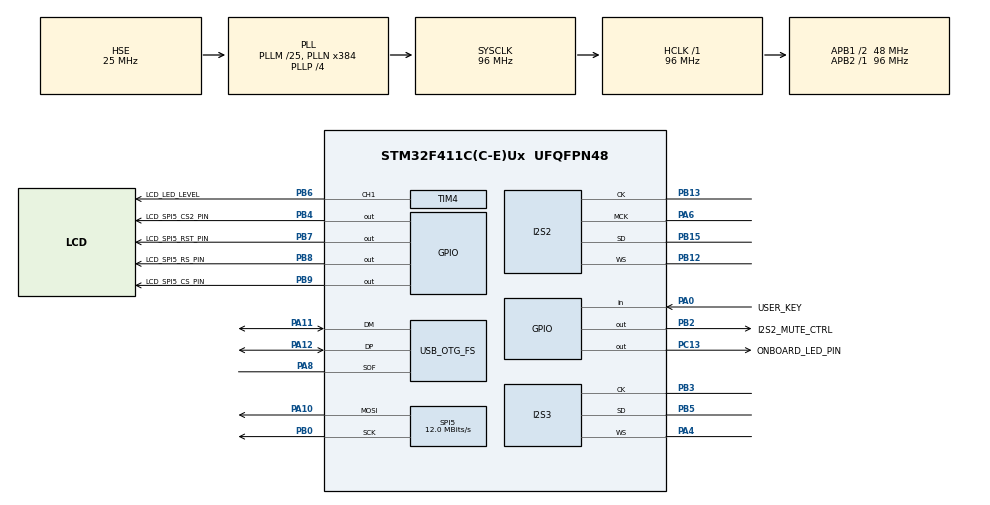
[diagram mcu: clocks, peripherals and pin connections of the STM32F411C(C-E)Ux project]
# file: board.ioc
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Dma.Request0=SPI2_TX
Dma.Request1=SPI3_RX
Dma.Request2=SPI5_TX
Dma.SPI2_TX.0.Direction=DMA_MEMORY_TO_PERIPH
Dma.SPI2_TX.0.FIFOMode=DMA_FIFOMODE_ENABLE
Dma.SPI2_TX.0.FIFOThreshold=DMA_FIFO_THRESHOLD_FULL
Dma.SPI2_TX.0.Instance=DMA1_Stream4
Dma.SPI2_TX.0.MemBurst=DMA_MBURST_SINGLE
Dma.SPI2_TX.0.MemDataAlignment=DMA_MDATAALIGN_HALFWORD
Dma.SPI2_TX.0.MemInc=DMA_MINC_ENABLE
Dma.SPI2_TX.0.Mode=DMA_CIRCULAR
Dma.SPI2_TX.0.PeriphBurst=DMA_PBURST_SINGLE
Dma.SPI2_TX.0.PeriphDataAlignment=DMA_PDATAALIGN_HALFWORD
Dma.SPI2_TX.0.PeriphInc=DMA_PINC_DISABLE
Dma.SPI2_TX.0.Priority=DMA_PRIORITY_LOW
Dma.SPI3_RX.1.Direction=DMA_PERIPH_TO_MEMORY
Dma.SPI3_RX.1.FIFOMode=DMA_FIFOMODE_ENABLE
Dma.SPI3_RX.1.FIFOThreshold=DMA_FIFO_THRESHOLD_FULL
Dma.SPI3_RX.1.Instance=DMA1_Stream2
Dma.SPI3_RX.1.MemBurst=DMA_MBURST_SINGLE
Dma.SPI3_RX.1.MemDataAlignment=DMA_MDATAALIGN_HALFWORD
Dma.SPI3_RX.1.MemInc=DMA_MINC_ENABLE
Dma.SPI3_RX.1.Mode=DMA_CIRCULAR
Dma.SPI3_RX.1.PeriphBurst=DMA_PBURST_SINGLE
Dma.SPI3_RX.1.PeriphDataAlignment=DMA_PDATAALIGN_HALFWORD
Dma.SPI3_RX.1.PeriphInc=DMA_PINC_DISABLE
Dma.SPI3_RX.1.Priority=DMA_PRIORITY_LOW
Dma.SPI5_TX.2.Direction=DMA_MEMORY_TO_PERIPH
Dma.SPI5_TX.2.FIFOMode=DMA_FIFOMODE_DISABLE
Dma.SPI5_TX.2.Instance=DMA2_Stream4
Dma.SPI5_TX.2.MemDataAlignment=DMA_MDATAALIGN_BYTE
Dma.SPI5_TX.2.MemInc=DMA_MINC_ENABLE
Dma.SPI5_TX.2.Mode=DMA_NORMAL
Dma.SPI5_TX.2.PeriphDataAlignment=DMA_PDATAALIGN_BYTE
Dma.SPI5_TX.2.PeriphInc=DMA_PINC_DISABLE
Dma.SPI5_TX.2.Priority=DMA_PRIORITY_LOW
FREERTOS.Tasks01=defaultTask,24,256,StartDefaultTask,Default,NULL,Dynamic,NULL,NULL
FREERTOS.configCHECK_FOR_STACK_OVERFLOW=2
FREERTOS.configENABLE_BACKWARD_COMPATIBILITY=0
FREERTOS.configENABLE_FPU=1
FREERTOS.configGENERATE_RUN_TIME_STATS=1
FREERTOS.configMAX_CO_ROUTINE_PRIORITIES=6
FREERTOS.configMAX_TASK_NAME_LEN=32
FREERTOS.configMINIMAL_STACK_SIZE=256
FREERTOS.configQUEUE_REGISTRY_SIZE=16
FREERTOS.configUSE_CO_ROUTINES=1
FREERTOS.configUSE_DAEMON_TASK_STARTUP_HOOK=1
FREERTOS.configUSE_IDLE_HOOK=1
FREERTOS.configUSE_MALLOC_FAILED_HOOK=1
FREERTOS.configUSE_STATS_FORMATTING_FUNCTIONS=1
FREERTOS.configUSE_TICK_HOOK=1
I2S2.AudioFreq=I2S_AUDIOFREQ_192K
I2S2.ClockSource=I2S_CLOCK_PLL
I2S2.DataFormat=I2S_DATAFORMAT_24B
I2S2.ErrorAudioFreq=-2.36 %
I2S2.FullDuplexMode=I2S_FULLDUPLEXMODE_DISABLE
I2S2.Instance=SPI$Index
I2S2.RealAudioFreq=187.465 KHz
I2S2.VirtualMode=I2S_MODE_MASTER
I2S3.AudioFreq=I2S_AUDIOFREQ_192K
I2S3.ClockSource=I2S_CLOCK_PLL
I2S3.DataFormat=I2S_DATAFORMAT_24B
I2S3.ErrorAudioFreq=-2.36 %
I2S3.FullDuplexMode=I2S_FULLDUPLEXMODE_DISABLE
I2S3.Instance=SPI$Index
I2S3.Mode=I2S_MODE_SLAVE_RX
I2S3.RealAudioFreq=187.465 KHz
I2S3.VirtualMode=I2S_MODE_SLAVE
Mcu.Family=STM32F4
Mcu.Name=STM32F411C(C-E)Ux
Mcu.Package=UFQFPN48
NVIC.DMA1_Stream2_IRQn=true\:5\:0\:false\:false\:true\:true\:false\:true\:true
NVIC.DMA1_Stream4_IRQn=true\:5\:0\:false\:true\:true\:4\:true\:false\:true\:true
NVIC.DMA2_Stream4_IRQn=true\:5\:0\:false\:false\:true\:true\:false\:true\:true
NVIC.FLASH_IRQn=true\:5\:0\:false\:true\:true\:2\:true\:true\:true\:true
NVIC.FPU_IRQn=true\:5\:0\:false\:true\:true\:9\:true\:true\:false\:true
NVIC.OTG_FS_IRQn=true\:5\:0\:false\:false\:true\:true\:true\:true\:true
NVIC.PVD_IRQn=true\:5\:0\:false\:true\:true\:1\:true\:true\:true\:true
NVIC.PriorityGroup=NVIC_PRIORITYGROUP_4
NVIC.RCC_IRQn=true\:5\:0\:false\:true\:true\:3\:true\:true\:false\:true
NVIC.SPI2_IRQn=true\:5\:0\:false\:true\:true\:6\:true\:true\:true\:true
NVIC.SPI3_IRQn=true\:5\:0\:false\:false\:true\:true\:true\:true\:true
NVIC.SPI5_IRQn=true\:5\:0\:false\:false\:true\:true\:true\:true\:true
NVIC.TIM1_UP_TIM10_IRQn=true\:15\:0\:false\:false\:true\:false\:false\:true\:true
NVIC.TimeBase=TIM1_UP_TIM10_IRQn
NVIC.TimeBaseIP=TIM1
PA0-WKUP.GPIO_Label=USER_KEY
PA0-WKUP.GPIO_Mode=GPIO_MODE_INPUT
PA0-WKUP.GPIO_PuPd=GPIO_PULLUP
PA0-WKUP.Signal=GPIO_Input
PA10.Mode=TX_Only_Simplex_Unidirect_Master
PA10.Signal=SPI5_MOSI
PA11.Mode=Device_Only
PA11.Signal=USB_OTG_FS_DM
PA12.Mode=Device_Only
PA12.Signal=USB_OTG_FS_DP
PA13.Mode=Serial_Wire
PA13.Signal=SYS_JTMS-SWDIO
PA14.Mode=Serial_Wire
PA14.Signal=SYS_JTCK-SWCLK
PA4.Mode=Half_Duplex_Slave
PA4.Signal=I2S3_WS
PA6.Mode=Master_Clock_Activated
PA6.Signal=I2S2_MCK
PA8.Mode=Activate_SOF_FS
PA8.Signal=USB_OTG_FS_SOF
PB0.Mode=TX_Only_Simplex_Unidirect_Master
PB0.Signal=SPI5_SCK
PB12.Mode=Half_Duplex_Master
PB12.Signal=I2S2_WS
PB13.Mode=Half_Duplex_Master
PB13.Signal=I2S2_CK
PB15.Mode=Half_Duplex_Master
PB15.Signal=I2S2_SD
PB2.GPIO_Label=I2S2_MUTE_CTRL
PB2.GPIO_ModeDefaultOutputPP=GPIO_MODE_OUTPUT_PP
PB2.PinState=GPIO_PIN_SET
PB2.Signal=GPIO_Output
PB3.Mode=Half_Duplex_Slave
PB3.Signal=I2S3_CK
PB4.GPIO_Label=LCD_SPI5_CS2_PIN
PB4.Signal=GPIO_Output
PB5.Mode=Half_Duplex_Slave
PB5.Signal=I2S3_SD
PB6.GPIO_Label=LCD_LED_LEVEL
PB6.Signal=S_TIM4_CH1
PB7.GPIO_Label=LCD_SPI5_RST_PIN
PB7.Signal=GPIO_Output
PB8.GPIO_Label=LCD_SPI5_RS_PIN
PB8.Signal=GPIO_Output
PB9.GPIO_Label=LCD_SPI5_CS_PIN
PB9.GPIO_Speed=GPIO_SPEED_FREQ_VERY_HIGH
PB9.Signal=GPIO_Output
PC13-ANTI_TAMP.GPIO_Label=ONBOARD_LED_PIN
PC13-ANTI_TAMP.GPIO_ModeDefaultOutputPP=GPIO_MODE_OUTPUT_PP
PC13-ANTI_TAMP.PinState=GPIO_PIN_RESET
PC13-ANTI_TAMP.Signal=GPIO_Output
PH0\ -\ OSC_IN.Mode=HSE-External-Oscillator
PH0\ -\ OSC_IN.Signal=RCC_OSC_IN
PH1\ -\ OSC_OUT.Mode=HSE-External-Oscillator
PH1\ -\ OSC_OUT.Signal=RCC_OSC_OUT
ProjectManager.HeapSize=0x2400
ProjectManager.StackSize=0x4800
ProjectManager.TargetToolchain=Makefile
RCC.48MHZClocksFreq_Value=48000000
RCC.AHBFreq_Value=96000000
RCC.APB1CLKDivider=RCC_HCLK_DIV2
RCC.APB1Freq_Value=48000000
RCC.APB1TimFreq_Value=96000000
RCC.APB2Freq_Value=96000000
RCC.APB2TimFreq_Value=96000000
RCC.CortexFreq_Value=96000000
RCC.EXTERNAL_CLOCK_VALUE=24576000
RCC.HCLKFreq_Value=96000000
RCC.HSE_VALUE=25000000
RCC.HSI_VALUE=16000000
RCC.LSE_VALUE=32768
RCC.PLLI2SM=14
RCC.PLLI2SN=215
RCC.PLLM=25
RCC.PLLN=384
RCC.PLLP=RCC_PLLP_DIV4
RCC.PLLQ=8
RCC.RCC_RTC_Clock_SourceVirtual=RCC_RTCCLKSOURCE_HSE_DIV25
RCC.RCC_RTC_Clock_Source_FROM_HSE=RCC_RTCCLKSOURCE_HSE_DIV25
RCC.RCC_TIM_PRescaler_Selection=RCC_TIMPRES_ACTIVATED
RCC.SYSCLKFreq_VALUE=96000000
RCC.SYSCLKSource=RCC_SYSCLKSOURCE_PLLCLK
RCC.VCOOutputFreq_Value=384000000
SH.S_TIM4_CH1.0=TIM4_CH1,PWM Generation1 CH1
SPI5.BaudRatePrescaler=SPI_BAUDRATEPRESCALER_8
SPI5.CalculateBaudRate=12.0 MBits/s
SPI5.DataSize=SPI_DATASIZE_8BIT
SPI5.Direction=SPI_DIRECTION_2LINES
SPI5.Mode=SPI_MODE_MASTER
SPI5.VirtualType=VM_MASTER
TIM4.Channel-PWM\ Generation1\ CH1=TIM_CHANNEL_1
TIM4.Period=500-1
TIM4.Prescaler=768-1
USB_OTG_FS.Sof_enable=ENABLE
USB_OTG_FS.VirtualMode=Device_Only
VP_CRC_VS_CRC.Mode=CRC_Activate
VP_FREERTOS_VS_CMSIS_V2.Mode=CMSIS_V2
VP_SYS_VS_tim1.Mode=TIM1
VP_TIM4_VS_ClockSourceINT.Mode=Internal
board=custom

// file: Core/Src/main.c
/* USER CODE BEGIN Header */
/**
  ******************************************************************************
  * @file           : main.c
  * @brief          : Main program body
  ******************************************************************************
  * @attention
  *
  * Copyright (c) 2024 STMicroelectronics.
  * All rights reserved.
  *
  * This software is licensed under terms that can be found in the LICENSE file
  * in the root directory of this software component.
  * If no LICENSE file comes with this software, it is provided AS-IS.
  *
  ******************************************************************************
  */
/* USER CODE END Header */
#include "main.h"
#include "cmsis_os.h"
#include "crc.h"
#include "dma.h"
#include "i2s.h"
#include "spi.h"
#include "tim.h"
#include "usb_otg.h"
#include "gpio.h"

void SystemClock_Config(void);
void PeriphCommonClock_Config(void);
void MX_FREERTOS_Init(void);
static void MX_NVIC_Init(void);

int main(void)
{

  /* MCU Configuration--------------------------------------------------------*/

  /* Reset of all peripherals, Initializes the Flash interface and the Systick. */

  HAL_Init();

  /* USER CODE BEGIN Init */
  extern void I2S_BUS_ClockConfig(I2S_HandleTypeDef *hi2s, uint32_t AudioFreq, void *Params);
  extern void ST7735_Init();
  extern void ST7735_FillScreen(uint16_t color);
  extern void InitTop(void);
  extern void SetPWM(uint16_t value);
  /* USER CODE END Init */

  /* Configure the system clock */
  SystemClock_Config();

/* Configure the peripherals common clocks */
  PeriphCommonClock_Config();

  /* USER CODE BEGIN SysInit */
  I2S_BUS_ClockConfig(&hi2s2, 96000, NULL);
  I2S_BUS_ClockConfig(&hi2s3, 96000, NULL);
  /* USER CODE END SysInit */

  /* Initialize all configured peripherals */
  MX_CRC_Init();
  MX_GPIO_Init();
  MX_DMA_Init();
  MX_I2S2_Init();
  MX_I2S3_Init();
  MX_SPI5_Init();
  MX_TIM4_Init();
  MX_USB_OTG_FS_PCD_Init();

  /* Initialize interrupts */
  MX_NVIC_Init();
  /* USER CODE BEGIN 2 */
  HAL_TIM_PWM_Start(&htim4, TIM_CHANNEL_1); SetPWM(3);
  ST7735_Init(); ST7735_FillScreen(0x0000);
  SetPWM(0);
  InitTop();
  SetPWM(22);
  /* USER CODE END 2 */

  /* Init scheduler */
  osKernelInitialize();

  /* Call init function for freertos objects (in freertos.c) */
  MX_FREERTOS_Init();

  /* Start scheduler */
  osKernelStart();

  /* We should never get here as control is now taken by the scheduler */
  /* Infinite loop */
  while (1)
  {

  }
}

void SystemClock_Config(void)
{
  RCC_OscInitTypeDef RCC_OscInitStruct = {0};
  RCC_ClkInitTypeDef RCC_ClkInitStruct = {0};

  /** Configure the main internal regulator output voltage
  */
  __HAL_RCC_PWR_CLK_ENABLE();
  __HAL_PWR_VOLTAGESCALING_CONFIG(PWR_REGULATOR_VOLTAGE_SCALE1);

  /** Initializes the RCC Oscillators according to the specified parameters
  * in the RCC_OscInitTypeDef structure.
  */
  RCC_OscInitStruct.OscillatorType = RCC_OSCILLATORTYPE_HSE;
  RCC_OscInitStruct.HSEState = RCC_HSE_ON;
  RCC_OscInitStruct.PLL.PLLState = RCC_PLL_ON;
  RCC_OscInitStruct.PLL.PLLSource = RCC_PLLSOURCE_HSE;
  RCC_OscInitStruct.PLL.PLLM = 25;
  RCC_OscInitStruct.PLL.PLLN = 384;
  RCC_OscInitStruct.PLL.PLLP = RCC_PLLP_DIV4;
  RCC_OscInitStruct.PLL.PLLQ = 8;
  if (HAL_RCC_OscConfig(&RCC_OscInitStruct) != HAL_OK)
  {
    Error_Handler();
  }

  /** Initializes the CPU, AHB and APB buses clocks
  */
  RCC_ClkInitStruct.ClockType = RCC_CLOCKTYPE_HCLK|RCC_CLOCKTYPE_SYSCLK
                              |RCC_CLOCKTYPE_PCLK1|RCC_CLOCKTYPE_PCLK2;
  RCC_ClkInitStruct.SYSCLKSource = RCC_SYSCLKSOURCE_PLLCLK;
  RCC_ClkInitStruct.AHBCLKDivider = RCC_SYSCLK_DIV1;
  RCC_ClkInitStruct.APB1CLKDivider = RCC_HCLK_DIV2;
  RCC_ClkInitStruct.APB2CLKDivider = RCC_HCLK_DIV1;

  if (HAL_RCC_ClockConfig(&RCC_ClkInitStruct, FLASH_LATENCY_3) != HAL_OK)
  {
    Error_Handler();
  }
}

void PeriphCommonClock_Config(void)
{
  RCC_PeriphCLKInitTypeDef PeriphClkInitStruct = {0};

  /** Initializes the peripherals clock
  */
  PeriphClkInitStruct.PeriphClockSelection = RCC_PERIPHCLK_TIM|RCC_PERIPHCLK_I2S;
  PeriphClkInitStruct.PLLI2S.PLLI2SN = 424;
  PeriphClkInitStruct.PLLI2S.PLLI2SM = 25;
  PeriphClkInitStruct.PLLI2S.PLLI2SR = 3;
  PeriphClkInitStruct.TIMPresSelection = RCC_TIMPRES_ACTIVATED;
  if (HAL_RCCEx_PeriphCLKConfig(&PeriphClkInitStruct) != HAL_OK)
  {
    Error_Handler();
  }
}

/**
  * @brief NVIC Configuration.
  * @retval None
  */
static void MX_NVIC_Init(void)
{
  /* PVD_IRQn interrupt configuration */
  HAL_NVIC_SetPriority(PVD_IRQn, 5, 0);
  HAL_NVIC_EnableIRQ(PVD_IRQn);
  /* FLASH_IRQn interrupt configuration */
  HAL_NVIC_SetPriority(FLASH_IRQn, 5, 0);
  HAL_NVIC_EnableIRQ(FLASH_IRQn);
  /* RCC_IRQn interrupt configuration */
  HAL_NVIC_SetPriority(RCC_IRQn, 5, 0);
  HAL_NVIC_EnableIRQ(RCC_IRQn);
  /* DMA1_Stream4_IRQn interrupt configuration */
  HAL_NVIC_SetPriority(DMA1_Stream4_IRQn, 5, 0);
  HAL_NVIC_EnableIRQ(DMA1_Stream4_IRQn);
  /* SPI2_IRQn interrupt configuration */
  HAL_NVIC_SetPriority(SPI2_IRQn, 5, 0);
  HAL_NVIC_EnableIRQ(SPI2_IRQn);
  /* FPU_IRQn interrupt configuration */
  HAL_NVIC_SetPriority(FPU_IRQn, 5, 0);
  HAL_NVIC_EnableIRQ(FPU_IRQn);
}

void HAL_TIM_PeriodElapsedCallback(TIM_HandleTypeDef *htim)
{
  if (htim->Instance == TIM1) {
    HAL_IncTick();
  }
}

void Error_Handler(void)
{
  __disable_irq();
  while (1)
  {
  }
}

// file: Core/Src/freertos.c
/* USER CODE BEGIN Header */
/**
  ******************************************************************************
  * File Name          : freertos.c
  * Description        : Code for freertos applications
  ******************************************************************************
  * @attention
  *
  * Copyright (c) 2024 STMicroelectronics.
  * All rights reserved.
  *
  * This software is licensed under terms that can be found in the LICENSE file
  * in the root directory of this software component.
  * If no LICENSE file comes with this software, it is provided AS-IS.
  *
  ******************************************************************************
  */
/* USER CODE END Header */

#include "FreeRTOS.h"
#include "task.h"
#include "main.h"
#include "cmsis_os.h"

/* USER CODE BEGIN Variables */
osThreadId_t LCDTaskHandle;
const osThreadAttr_t LCDTask_attributes = {
  .name = "LCDTask",
  .stack_size = 256 * 4,
  .priority = (osPriority_t) osPriorityNormal,
};

osThreadId_t LoggerTaskHandle;
const osThreadAttr_t LoggerTask_attributes = {
  .name = "LoggerTask",
  .stack_size = 256 * 4,
  .priority = (osPriority_t) osPriorityLow,
};

osThreadId_t Rezerved0TaskHandle;
const osThreadAttr_t Rezerved0Task_attributes = {
  .name = "Rezerved0Task",
  .stack_size = 256 * 4,
  .priority = (osPriority_t) osPriorityLow,
};

osThreadId_t Rezerved1TaskHandle;
const osThreadAttr_t Rezerved1Task_attributes = {
  .name = "Rezerved1Task",
  .stack_size = 256 * 4,
  .priority = (osPriority_t) osPriorityLow,
};
osThreadId_t Rezerved2TaskHandle;
const osThreadAttr_t Rezerved2Task_attributes = {
  .name = "Rezerved2Task",
  .stack_size = 256 * 4,
  .priority = (osPriority_t) osPriorityLow,
};
osThreadId_t Rezerved3TaskHandle;
const osThreadAttr_t Rezerved3Task_attributes = {
  .name = "Rezerved3Task",
  .stack_size = 256 * 4,
  .priority = (osPriority_t) osPriorityLow,
};

/* USER CODE END Variables */
/* Definitions for defaultTask */
osThreadId_t defaultTaskHandle;
const osThreadAttr_t defaultTask_attributes = {
  .name = "defaultTask",
  .stack_size = 256 * 4,
  .priority = (osPriority_t) osPriorityNormal,
};

/* USER CODE BEGIN FunctionPrototypes */
void StartLCDTask(void *argument);
void StartLoggerTask(void *argument);
void StartRezerved0Task(void *argument);
void StartRezerved1Task(void *argument);
void StartRezerved2Task(void *argument);
void StartRezerved3Task(void *argument);
/* USER CODE END FunctionPrototypes */

void StartDefaultTask(void *argument);

void MX_FREERTOS_Init(void); /* (MISRA C 2004 rule 8.1) */

/* Hook prototypes */
void configureTimerForRunTimeStats(void);
unsigned long getRunTimeCounterValue(void);
void vApplicationIdleHook(void);
void vApplicationTickHook(void);
void vApplicationStackOverflowHook(TaskHandle_t xTask, signed char *pcTaskName);
void vApplicationMallocFailedHook(void);
void vApplicationDaemonTaskStartupHook(void);

/* USER CODE BEGIN 1 */
/* Functions needed when configGENERATE_RUN_TIME_STATS is on */
__weak void configureTimerForRunTimeStats(void)
{

}

__weak unsigned long getRunTimeCounterValue(void)
{
return 0;
}
/* USER CODE END 1 */

/* USER CODE BEGIN 2 */
void vApplicationIdleHook( void )
{
   /* vApplicationIdleHook() will only be called if configUSE_IDLE_HOOK is set
   to 1 in FreeRTOSConfig.h. It will be called on each iteration of the idle
   task. It is essential that code added to this hook function never attempts
   to block in any way (for example, call xQueueReceive() with a block time
   specified, or call vTaskDelay()). If the application makes use of the
   vTaskDelete() API function (as this demo application does) then it is also
   important that vApplicationIdleHook() is permitted to return to its calling
   function, because it is the responsibility of the idle task to clean up
   memory allocated by the kernel to any task that has since been deleted. */
}
/* USER CODE END 2 */

/* USER CODE BEGIN 3 */
void vApplicationTickHook( void )
{
   /* This function will be called by each tick interrupt if
   configUSE_TICK_HOOK is set to 1 in FreeRTOSConfig.h. User code can be
   added here, but the tick hook is called from an interrupt context, so
   code must not attempt to block, and only the interrupt safe FreeRTOS API
   functions can be used (those that end in FromISR()). */
}
/* USER CODE END 3 */

/* USER CODE BEGIN 4 */
void vApplicationStackOverflowHook(TaskHandle_t xTask, signed char *pcTaskName)
{
   /* Run time stack overflow checking is performed if
   configCHECK_FOR_STACK_OVERFLOW is defined to 1 or 2. This hook function is
   called if a stack overflow is detected. */
}
/* USER CODE END 4 */

/* USER CODE BEGIN 5 */
void vApplicationMallocFailedHook(void)
{
   /* vApplicationMallocFailedHook() will only be called if
   configUSE_MALLOC_FAILED_HOOK is set to 1 in FreeRTOSConfig.h. It is a hook
   function that will get called if a call to pvPortMalloc() fails.
   pvPortMalloc() is called internally by the kernel whenever a task, queue,
   timer or semaphore is created. It is also called by various parts of the
   demo application. If heap_1.c or heap_2.c are used, then the size of the
   heap available to pvPortMalloc() is defined by configTOTAL_HEAP_SIZE in
   FreeRTOSConfig.h, and the xPortGetFreeHeapSize() API function can be used
   to query the size of free heap space that remains (although it does not
   provide information on how the remaining heap might be fragmented). */
}
/* USER CODE END 5 */

/* USER CODE BEGIN DAEMON_TASK_STARTUP_HOOK */
void vApplicationDaemonTaskStartupHook(void)
{
}
/* USER CODE END DAEMON_TASK_STARTUP_HOOK */

void MX_FREERTOS_Init(void) {

  /* Create the thread(s) */
  /* creation of defaultTask */
  defaultTaskHandle = osThreadNew(StartDefaultTask, NULL, &defaultTask_attributes);

  /* USER CODE BEGIN RTOS_THREADS */
  /* add threads, ... */
  LCDTaskHandle       = osThreadNew(StartLCDTask, NULL, &LCDTask_attributes);
  LoggerTaskHandle    = osThreadNew(StartLoggerTask, NULL, &LoggerTask_attributes);
  Rezerved0TaskHandle = osThreadNew(StartRezerved0Task, NULL, &Rezerved0Task_attributes);
  Rezerved1TaskHandle = osThreadNew(StartRezerved1Task, NULL, &Rezerved1Task_attributes);
  Rezerved2TaskHandle = osThreadNew(StartRezerved2Task, NULL, &Rezerved2Task_attributes);
  Rezerved3TaskHandle = osThreadNew(StartRezerved3Task, NULL, &Rezerved3Task_attributes);
  /* USER CODE END RTOS_THREADS */

}

void StartDefaultTask(void *argument)
{
  for(;;)
  {
    osDelay(1);
  }
}

/* USER CODE BEGIN Application */
__weak void StartLCDTask(void *argument){
  for(;;)
  {
    osDelay(1);
  }
}

__weak void StartLoggerTask(void *argument){
  for(;;)
  {
    osDelay(1);
  }
}

__weak void StartRezerved0Task(void *argument){
  for(;;)
  {
    osDelay(1);
  }
}

__weak void StartRezerved1Task(void *argument){
  for(;;)
  {
    osDelay(1);
  }
}

__weak void StartRezerved2Task(void *argument){
  for(;;)
  {
    osDelay(1);
  }
}

__weak void StartRezerved3Task(void *argument){
  for(;;)
  {
    osDelay(1);
  }
}
/* USER CODE END Application */
